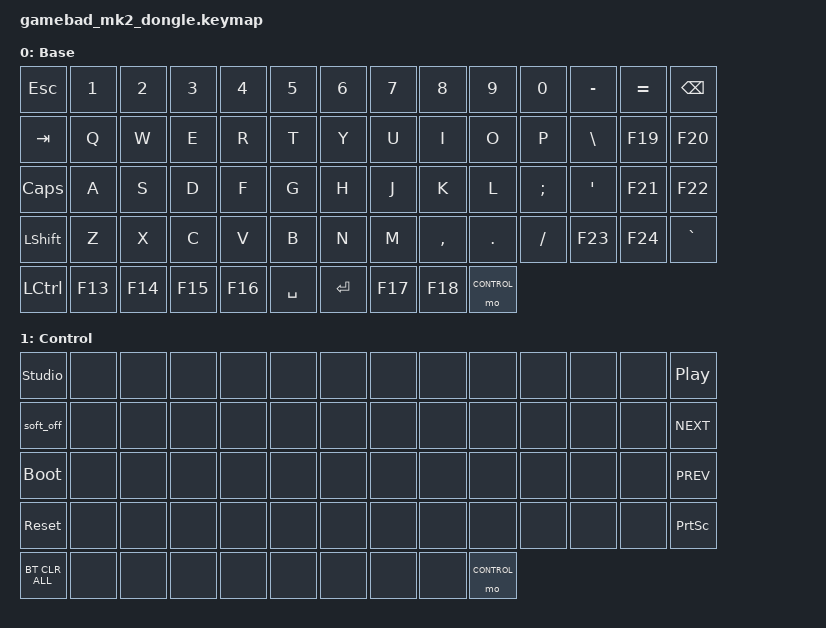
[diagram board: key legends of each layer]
#include <behaviors.dtsi>

#include <dt-bindings/zmk/keys.h>

#include <dt-bindings/zmk/outputs.h>
#include <dt-bindings/zmk/bt.h>

#define DEFAULT 0
#define CONTROL 1

// Template:
// -------------------------------------------------------- //
//  xx  xx  xx  xx  xx  xx  xx  xx  xx  xx  xx  xx  xx  xx  //
//  xx  xx  xx  xx  xx  xx  xx  xx  xx  xx  xx  xx  xx  xx  //
//  xx  xx  xx  xx  xx  xx  xx  xx  xx  xx  xx  xx  xx  xx  //
//  xx  xx  xx  xx  xx  xx  xx  xx  xx  xx  xx  xx  xx  xx  //
//  xx  xx  xx  xx  xx  xx  xx  xx  xx  xx                  //
// -------------------------------------------------------- //
// bindings = <
//   &none  &none  &none  &none  &none  &none  &none  &none  &none  &none   &none  &none  &none  &none
//   &none  &none  &none  &none  &none  &none  &none  &none  &none  &none   &none  &none  &none  &none
//   &none  &none  &none  &none  &none  &none  &none  &none  &none  &none   &none  &none  &none  &none
//   &none  &none  &none  &none  &none  &none  &none  &none  &none  &none   &none  &none  &none  &none
//   &none  &none  &none  &none  &none  &none  &none  &none  &none  &none
// >;

/ {
  keymap0: keymap {
    compatible = "zmk,keymap";

    default_layer {
      display-name = "Base";
      // ------------------------------------------------------------------------------------ //
      //  ESC     1    2    3    4    5      6      7    8    9           0   -    =    BSPC  //
      //  TAB     Q    W    E    R    T      Y      U    I    O           P   \    F19  F20   //
      //  CLCK    A    S    D    F    G      H      J    K    L           ;   '    F21  F22   //
      //  LSHIFT  Z    X    C    V    B      N      M    ,    .           /   F23  F24  `     //
      //  LCTRL   F13  F14  F15  F16  SPACE  ENTER  F17  F18  mo_CONTROL  na  na   na   na    //
      // ------------------------------------------------------------------------------------ //
      bindings = <
        &kp ESC    &kp N1   &kp N2   &kp N3   &kp N4   &kp N5     &kp N6     &kp N7   &kp N8     &kp N9      &kp N0    &kp MINUS  &kp EQUAL  &kp BSPC
        &kp TAB    &kp Q    &kp W    &kp E    &kp R    &kp T      &kp Y      &kp U    &kp I      &kp O       &kp P     &kp BSLH   &kp F19    &kp F20
        &kp CLCK   &kp A    &kp S    &kp D    &kp F    &kp G      &kp H      &kp J    &kp K      &kp L       &kp SCLN  &kp SQT    &kp F21    &kp F22
        &kp LSHFT  &kp Z    &kp X    &kp C    &kp V    &kp B      &kp N      &kp M    &kp COMMA  &kp PERIOD  &kp FSLH  &kp F23    &kp F24    &kp GRAVE
        &kp LCTRL  &kp F13  &kp F14  &kp F15  &kp F16  &kp SPACE  &kp ENTER  &kp F17  &kp F18    &mo CONTROL
      >;
    };

    control_layer {
      display-name = "Control";
      // --------------------------------------------------------------- //
      //  unlck   xx  xx  xx  xx  xx  xx  xx  xx  xx  xx  xx  xx  p/p    //
      //  pwroff  xx  xx  xx  xx  xx  xx  xx  xx  xx  xx  xx  xx  next   //
      //  btldr   xx  xx  xx  xx  xx  xx  xx  xx  xx  xx  xx  xx  prev   //
      //  reboot  xx  xx  xx  xx  xx  xx  xx  xx  xx  xx  xx  xx  PSCRN  //
      //  bt_clr  xx  xx  xx  xx  xx  xx  xx  xx  xx  na  na  na  na     //
      // --------------------------------------------------------------- //
      bindings = <
        &studio_unlock  &none  &none  &none  &none  &none  &none  &none  &none  &none  &none  &none  &none  &kp C_PLAY_PAUSE
        &soft_off       &none  &none  &none  &none  &none  &none  &none  &none  &none  &none  &none  &none  &kp C_NEXT
        &bootloader     &none  &none  &none  &none  &none  &none  &none  &none  &none  &none  &none  &none  &kp C_PREV
        &sys_reset      &none  &none  &none  &none  &none  &none  &none  &none  &none  &none  &none  &none  &kp PRINTSCREEN
        &bt BT_CLR_ALL  &none  &none  &none  &none  &none  &none  &none  &none  &mo CONTROL
      >;
    };
  };
};
